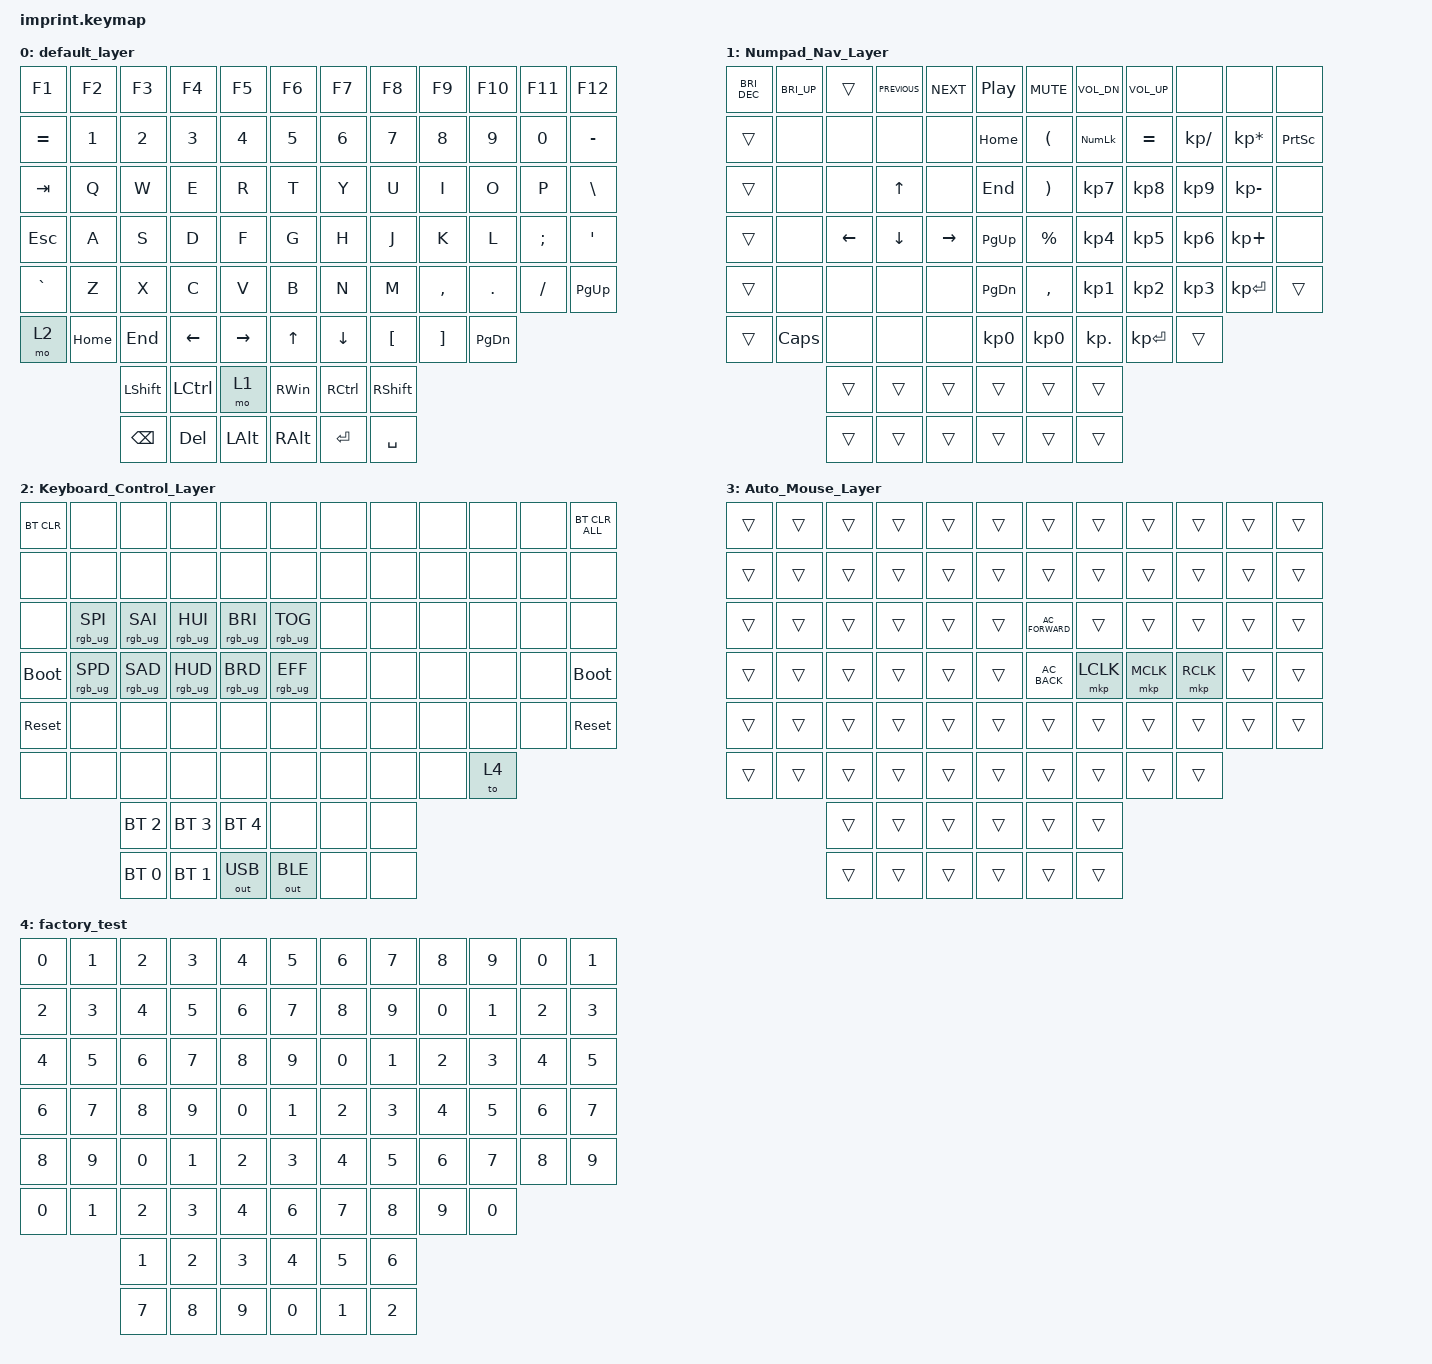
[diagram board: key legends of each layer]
#include <input/processors.dtsi>
#include <dt-bindings/zmk/input_transform.h>
#include <behaviors.dtsi>
#include <dt-bindings/zmk/bt.h>
#include <dt-bindings/zmk/keys.h>
#include <dt-bindings/zmk/outputs.h>
#include <dt-bindings/zmk/pointing.h>
#include <dt-bindings/zmk/rgb.h>

/ {
    chosen {
        zmk,matrix-transform = &imprint_function_row_full_bottom_row;
    };

    keymap {
        compatible = "zmk,keymap";

        default_layer {
            bindings = <
&kp F1 &kp F2 &kp F3 &kp F4 &kp F5 &kp F6 &kp F7 &kp F8 &kp F9 &kp F10 &kp F11 &kp F12
&kp EQUAL &kp N1 &kp N2 &kp N3 &kp N4 &kp N5 &kp N6 &kp N7 &kp N8 &kp N9 &kp N0 &kp MINUS
&kp TAB &kp Q &kp W &kp E &kp R &kp T &kp Y &kp U &kp I &kp O &kp P &kp BSLH
&kp ESCAPE &kp A &kp S &kp D &kp F &kp G &kp H &kp J &kp K &kp L &kp SEMI &kp SQT
&kp GRAVE &kp Z &kp X &kp C &kp V &kp B &kp N &kp M &kp COMMA &kp DOT &kp FSLH &kp PAGE_UP
&mo 2 &kp HOME &kp END &kp LEFT_ARROW &kp RIGHT_ARROW &kp UP_ARROW &kp DOWN &kp LEFT_BRACKET &kp RIGHT_BRACKET &kp PAGE_DOWN
            &kp LEFT_SHIFT &kp LCTRL &mo 1 &kp RIGHT_WIN &kp RIGHT_CONTROL &kp RIGHT_SHIFT
            &kp BACKSPACE &kp DELETE &kp LALT &kp RALT &kp ENTER &kp SPACE
            >;
        };

        Numpad_Nav_Layer {
            bindings = <
&kp C_BRIGHTNESS_DEC &kp C_BRI_UP &trans &kp C_PREVIOUS &kp C_NEXT &kp C_PP &kp C_MUTE &kp C_VOL_DN &kp C_VOL_UP &none &none &none
&trans &none &none &none &none &kp HOME &kp LEFT_PARENTHESIS &kp KP_NUM &kp EQUAL &kp KP_SLASH &kp KP_MULTIPLY &kp PRINTSCREEN
&trans &none &none &kp UP_ARROW &none &kp END &kp RIGHT_PARENTHESIS &kp KP_N7 &kp KP_N8 &kp KP_N9 &kp KP_MINUS &none
&trans &none &kp LEFT_ARROW &kp DOWN_ARROW &kp RIGHT_ARROW &kp PAGE_UP &kp PERCENT &kp KP_N4 &kp KP_N5 &kp KP_N6 &kp KP_PLUS &none
&trans &none &none &none &none &kp PAGE_DOWN &kp COMMA &kp KP_N1 &kp KP_N2 &kp KP_N3 &kp KP_ENTER &trans
&trans &kp CAPS &none &none &none &kp KP_N0 &kp KP_N0 &kp KP_DOT &kp KP_ENTER &trans
            &trans &trans &trans &trans &trans &trans
            &trans &trans &trans &trans &trans &trans
            >;
        };

        Keyboard_Control_Layer {
            bindings = <
&bt BT_CLR &none &none &none &none &none &none &none &none &none &none &bt BT_CLR_ALL
&none &none &none &none &none &none &none &none &none &none &none &none
&none &rgb_ug RGB_SPI &rgb_ug RGB_SAI &rgb_ug RGB_HUI &rgb_ug RGB_BRI &rgb_ug RGB_TOG &none &none &none &none &none &none
&bootloader &rgb_ug RGB_SPD &rgb_ug RGB_SAD &rgb_ug RGB_HUD &rgb_ug RGB_BRD &rgb_ug RGB_EFF &none &none &none &none &none &bootloader
&sys_reset &none &none &none &none &none &none &none &none &none &none &sys_reset
&none &none &none &none &none &none &none &none &none &to 4
            &bt BT_SEL 2 &bt BT_SEL 3 &bt BT_SEL 4 &none &none &none
            &bt BT_SEL 0 &bt BT_SEL 1 &out OUT_USB &out OUT_BLE &none &none
            >;
        };

        Auto_Mouse_Layer {
            bindings = <
&trans &trans &trans &trans &trans &trans &trans &trans &trans &trans &trans &trans
&trans &trans &trans &trans &trans &trans &trans &trans &trans &trans &trans &trans
&trans &trans &trans &trans &trans &trans &kp C_AC_FORWARD &trans &trans &trans &trans &trans
&trans &trans &trans &trans &trans &trans &kp C_AC_BACK &mkp LCLK &mkp MCLK &mkp RCLK &trans &trans
&trans &trans &trans &trans &trans &trans &trans &trans &trans &trans &trans &trans
&trans &trans &trans &trans &trans &trans &trans &trans &trans &trans
            &trans &trans &trans &trans &trans &trans
            &trans &trans &trans &trans &trans &trans
            >;
        };

        factory_test {
            bindings = <
&kp N0 &kp N1 &kp N2 &kp N3 &kp N4 &kp N5 &kp N6 &kp N7 &kp N8 &kp N9 &kp N0 &kp N1
&kp N2 &kp N3 &kp N4 &kp N5 &kp N6 &kp N7 &kp N8 &kp N9 &kp N0 &kp N1 &kp N2 &kp N3
&kp N4 &kp N5 &kp N6 &kp N7 &kp N8 &kp N9 &kp N0 &kp N1 &kp N2 &kp N3 &kp N4 &kp N5
&kp N6 &kp N7 &kp N8 &kp N9 &kp N0 &kp N1 &kp N2 &kp N3 &kp N4 &kp N5 &kp N6 &kp N7
&kp N8 &kp N9 &kp N0 &kp N1 &kp N2 &kp N3 &kp N4 &kp N5 &kp N6 &kp N7 &kp N8 &kp N9
&kp N0 &kp N1 &kp N2 &kp N3 &kp N4 &kp N6 &kp N7 &kp N8 &kp N9 &kp N0
            &kp N1 &kp N2 &kp N3 &kp N4 &kp N5 &kp N6
            &kp N7 &kp N8 &kp N9 &kp N0 &kp N1 &kp N2
            >;
        };
    };
};

/* --- Trackball Configuration --- */

// Right-Hand Trackball (Peripheral) - Controls scrolling
&trackball_peripheral_listener {
    input-processors =
        // Multiply sensitivity by 1, divide by 128 (slower)
        <&zip_xy_scaler 1 128>,
        // Map trackball movement to scroll wheel events
        <&zip_xy_to_scroll_mapper>,
        // Invert vertical scrolling (natural scrolling)
        <&zip_scroll_transform INPUT_TRANSFORM_Y_INVERT>;
};

// Left-Hand Trackball (Central) - Controls cursor and activates mouse layer
&trackball_central_listener {
    input-processors = <
        // Activate layer 3 for 750ms after the trackball moves
        &zip_temp_layer 3 750
        >;
};
